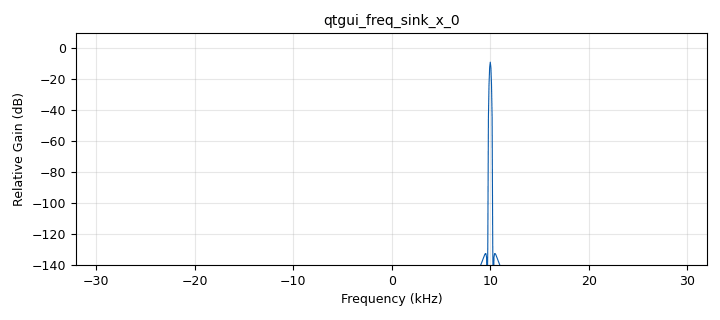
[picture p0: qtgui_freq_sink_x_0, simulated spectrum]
options:
  parameters:
    author: singsong
    generate_options: qt_gui
    id: radio_iq_sin
    output_language: python
    title: Not titled yet
  states: {}

blocks:
- name: samp_rate
  id: variable
  parameters:
    value: '64000'
  states: {}
- name: value
  id: variable_qtgui_range
  parameters:
    start: '-samp_rate//2'
    step: '1'
    stop: samp_rate//2
    value: 10e3
  states: {}
- name: analog_sig_source_x_0
  id: analog_sig_source_x
  parameters:
    amp: '1'
    freq: value
    offset: '0'
    phase: '0'
    samp_rate: samp_rate
    type: complex
    waveform: analog.GR_COS_WAVE
  states: {}
- name: blocks_throttle2_0
  id: blocks_throttle2
  parameters:
    samples_per_second: samp_rate
    type: complex
  states: {}
- name: network_tcp_sink_0
  id: network_tcp_sink
  parameters:
    mode: '2'
    port: '2002'
    type: complex
  states: {}
- name: qtgui_freq_sink_x_0
  id: qtgui_freq_sink_x
  parameters:
    bw: samp_rate
    fc: '0'
    fftsize: '1024'
    type: complex
  states: {}

connections:
- [analog_sig_source_x_0, '0', blocks_throttle2_0, '0']
- [blocks_throttle2_0, '0', network_tcp_sink_0, '0']
- [blocks_throttle2_0, '0', qtgui_freq_sink_x_0, '0']

metadata:
  file_format: 1
  grc_version: 3.10.12.0
